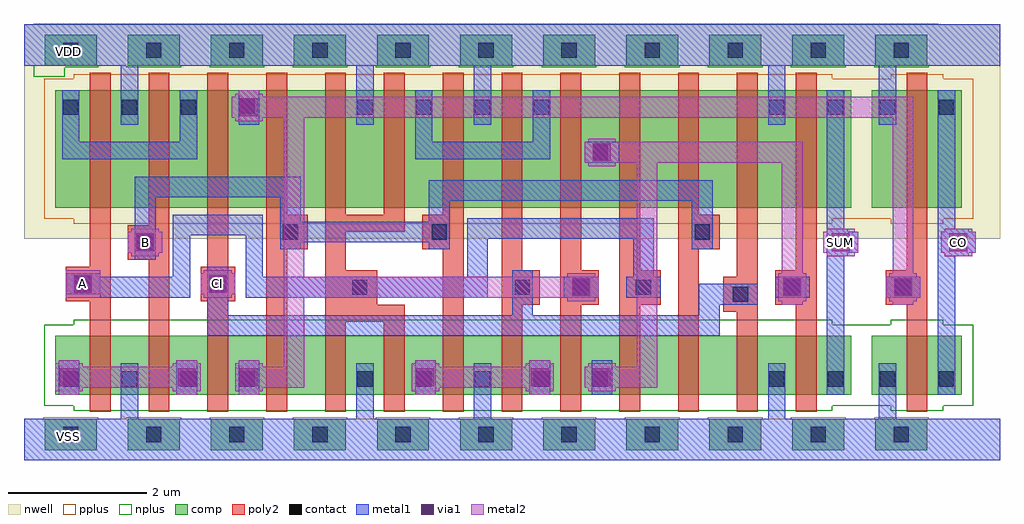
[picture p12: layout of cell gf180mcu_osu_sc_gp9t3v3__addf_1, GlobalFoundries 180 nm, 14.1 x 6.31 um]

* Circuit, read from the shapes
.subckt gf180mcu_osu_sc_gp9t3v3__addf_1 A B CI CO SUM VDD VSS
XM1 VSS A n1 VSS nfet_03v3 w=0.85u l=0.3u
XM2 n1 B VSS VSS nfet_03v3 w=0.85u l=0.3u
XM3 n2 CI n1 VSS nfet_03v3 w=0.85u l=0.3u
XM4 n3 B n2 VSS nfet_03v3 w=0.85u l=0.3u
XM5 VSS A n3 VSS nfet_03v3 w=0.85u l=0.3u
XM6 n4 A VSS VSS nfet_03v3 w=0.85u l=0.3u
XM7 VSS B n4 VSS nfet_03v3 w=0.85u l=0.3u
XM8 n4 CI VSS VSS nfet_03v3 w=0.85u l=0.3u
XM9 n5 n2 n4 VSS nfet_03v3 w=0.85u l=0.3u
XM10 n6 A n5 VSS nfet_03v3 w=0.85u l=0.3u
XM11 n7 B n6 VSS nfet_03v3 w=0.85u l=0.3u
XM12 VSS CI n7 VSS nfet_03v3 w=0.85u l=0.3u
XM13 SUM n5 VSS VSS nfet_03v3 w=0.85u l=0.3u
XM14 CO n2 VSS VSS nfet_03v3 w=0.85u l=0.3u
XM15 VDD A n8 VDD pfet_03v3 w=1.7u l=0.3u
XM16 n8 B VDD VDD pfet_03v3 w=1.7u l=0.3u
XM17 n2 CI n8 VDD pfet_03v3 w=1.7u l=0.3u
XM18 n9 B n2 VDD pfet_03v3 w=1.7u l=0.3u
XM19 VDD A n9 VDD pfet_03v3 w=1.7u l=0.3u
XM20 n10 A VDD VDD pfet_03v3 w=1.7u l=0.3u
XM21 VDD B n10 VDD pfet_03v3 w=1.7u l=0.3u
XM22 n10 CI VDD VDD pfet_03v3 w=1.7u l=0.3u
XM23 n5 n2 n10 VDD pfet_03v3 w=1.7u l=0.3u
XM24 n11 A n5 VDD pfet_03v3 w=1.7u l=0.3u
XM25 n12 B n11 VDD pfet_03v3 w=1.7u l=0.3u
XM26 VDD CI n12 VDD pfet_03v3 w=1.7u l=0.3u
XM27 SUM n5 VDD VDD pfet_03v3 w=1.7u l=0.3u
XM28 CO n2 VDD VDD pfet_03v3 w=1.7u l=0.3u
.ends

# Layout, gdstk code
import gdstk
lib = gdstk.Library(unit=1e-6, precision=1e-09)
def R(c, l, rs):  # rectangles x0, y0, x1, y1
    for r in rs: c.add(gdstk.rectangle(r[:2], r[2:], *l))
def A(c, l, x, y, w, h, nx, ny, dx, dy):  # array of equal rectangles
    R(c, l, [(x+i*dx, y+j*dy, x+i*dx+w, y+j*dy+h) for i in range(nx) for j in range(ny)])
nwell = (21, 0)
comp = (22, 0)
poly2 = (30, 0)
pplus = (31, 0)
nplus = (32, 0)
contact = (33, 0)
metal1 = (34, 0)
via1 = (35, 0)
metal2 = (36, 0)

gf180mcu_osu_sc_gp9t3v3_ = lib.new_cell('gf180mcu_osu_sc_gp9t3v3__addf_1')
R(gf180mcu_osu_sc_gp9t3v3_, nwell, [(0,3.2,14.1,6.3)])
A(gf180mcu_osu_sc_gp9t3v3_, comp, 0.3, 0.15, 0.75, 0.45, 11, 2, 1.2, 5.55)
R(gf180mcu_osu_sc_gp9t3v3_, comp, [(0.45,0.95,11.95,1.8), (12.25,0.95,13.55,1.8), (0.45,3.65,11.95,5.35), (12.25,3.65,13.55,5.35)])
A(gf180mcu_osu_sc_gp9t3v3_, poly2, 6.9, 0.7, 0.3, 1.55, 3, 1, 0.85, 0)
A(gf180mcu_osu_sc_gp9t3v3_, poly2, 6.9, 2.75, 0.3, 2.85, 3, 1, 0.85, 0)
A(gf180mcu_osu_sc_gp9t3v3_, poly2, 3.5, 3.55, 0.3, 2.05, 4, 1, 0.85, 0)
R(gf180mcu_osu_sc_gp9t3v3_, poly2, [(0.95,0.7,1.25,2.3), (1.8,0.7,2.1,2.9), (2.65,0.7,2.95,2.3), (3.5,0.7,3.8,3.05), (4.35,0.7,4.65,2), (5.2,0.7,5.5,2), (6.05,0.7,6.35,3.05), (9.45,0.7,9.75,3.05), (10.3,0.7,10.6,2.15), (11.15,0.7,11.45,2.25), (12.75,0.7,13.05,2.25), (4.35,2,5.5,2.25), (10.1,2.15,10.6,2.65), (4.35,2.25,5.1,2.75), (6.9,2.25,7.45,2.75), (7.75,2.25,8.3,2.75), (8.6,2.25,9.2,2.75), (10.85,2.25,11.45,2.75), (12.45,2.25,13.05,2.75), (0.6,2.3,1.25,2.8), (2.55,2.3,3.05,2.8), (10.3,2.65,10.6,5.6), (4.35,2.75,4.65,3.3), (11.15,2.75,11.45,5.6), (12.75,2.75,13.05,5.6), (0.95,2.8,1.25,5.6), (2.65,2.8,2.95,5.6), (1.5,2.9,2.1,3.4), (3.5,3.05,4.1,3.55), (5.75,3.05,6.35,3.55), (9.45,3.05,10.05,3.55), (4.35,3.3,5.5,3.55), (1.8,3.4,2.1,5.6), (9.45,3.55,9.75,5.6)])
A(gf180mcu_osu_sc_gp9t3v3_, pplus, 0.28, 0.13, 0.79, 0.49, 11, 1, 1.2, 0)
R(gf180mcu_osu_sc_gp9t3v3_, pplus, [(0,0,14.1,0.6), (0.72,3.42,11.68,3.49), (12.52,3.42,13.28,3.49), (0.29,3.49,13.71,5.51), (0.72,5.51,11.68,5.58), (12.52,5.51,13.28,5.58)])
A(gf180mcu_osu_sc_gp9t3v3_, nplus, 1.48, 5.68, 0.79, 0.02, 10, 1, 1.2, 0)
R(gf180mcu_osu_sc_gp9t3v3_, nplus, [(0.72,0.72,11.68,0.79), (12.52,0.72,13.28,0.79), (0.29,0.79,13.71,1.96), (0.72,1.96,11.68,2.03), (12.52,1.96,13.28,2.03), (0.14,5.54,0.59,5.68), (0.14,5.68,1.07,5.7), (0,5.7,14.1,6.3), (0,5.7,14.1,6.3), (0.14,6.3,13.21,6.31)])
A(gf180mcu_osu_sc_gp9t3v3_, contact, 0.565, 0.265, 0.22, 0.22, 11, 2, 1.2, 5.55)
A(gf180mcu_osu_sc_gp9t3v3_, contact, 0.565, 1.065, 0.22, 0.22, 4, 1, 0.85, 0)
A(gf180mcu_osu_sc_gp9t3v3_, contact, 4.815, 1.065, 0.22, 0.22, 5, 1, 0.85, 0)
A(gf180mcu_osu_sc_gp9t3v3_, contact, 0.565, 4.99, 0.22, 0.22, 3, 1, 0.85, 0)
A(gf180mcu_osu_sc_gp9t3v3_, contact, 4.815, 4.99, 0.22, 0.22, 4, 1, 0.85, 0)
R(gf180mcu_osu_sc_gp9t3v3_, contact, [(10.765,1.065,10.985,1.285), (11.615,1.065,11.835,1.285), (12.365,1.065,12.585,1.285), (13.215,1.065,13.435,1.285), (10.24,2.29,10.46,2.51), (4.74,2.39,4.96,2.61), (7.09,2.39,7.31,2.61), (7.94,2.39,8.16,2.61), (8.84,2.39,9.06,2.61), (10.99,2.39,11.21,2.61), (12.59,2.39,12.81,2.61), (0.74,2.44,0.96,2.66), (2.69,2.44,2.91,2.66), (1.64,3.04,1.86,3.26), (3.74,3.19,3.96,3.41), (5.89,3.19,6.11,3.41), (9.69,3.19,9.91,3.41), (8.215,4.34,8.435,4.56), (10.765,4.99,10.985,5.21), (11.615,4.99,11.835,5.21), (12.365,4.99,12.585,5.21), (13.215,4.99,13.435,5.21), (3.115,5.015,3.335,5.235)])
R(gf180mcu_osu_sc_gp9t3v3_, metal1, [(0,0,14.1,0.6), (1.4,0.6,1.65,1.4), (4.8,0.6,5.05,1.4), (6.5,0.6,6.75,1.4), (10.75,0.6,11,1.4), (12.35,0.6,12.6,1.4), (0.5,0.95,0.8,1.45), (2.2,0.95,2.5,1.45), (3.1,0.95,3.4,1.45), (5.65,0.95,5.95,1.45), (7.3,0.95,7.6,1.45), (8.2,0.95,8.5,1.45), (11.6,0.95,11.85,2.95), (13.2,0.95,13.45,2.95), (2.65,1.8,10.05,2.1), (2.65,2.1,2.95,2.8), (7.05,2.1,7.35,2.75), (9.75,2.1,10.05,2.25), (9.75,2.25,10.6,2.55), (1.1,2.35,2.4,2.4), (3.2,2.35,6.7,2.65), (7.8,2.35,8.3,2.65), (8.7,2.35,9.2,2.65), (10.85,2.35,11.35,2.65), (12.45,2.35,12.95,2.65), (0.6,2.4,2.4,2.65), (0.6,2.65,1.1,2.7), (2.15,2.65,2.4,3.25), (3.2,2.65,3.45,3.25), (6.4,2.65,6.7,3.2), (8.8,2.65,9.1,3.2), (1.6,2.9,1.9,3.8), (11.6,2.95,11.9,3), (13.2,2.95,13.65,3), (11.6,3,12.05,3.3), (13.2,3,13.75,3.3), (3.7,3.05,4,3.15), (5.85,3.05,6.15,3.15), (9.65,3.05,9.95,3.75), (3.7,3.15,6.15,3.45), (6.4,3.2,9.1,3.5), (2.15,3.25,3.45,3.55), (11.6,3.3,11.9,3.35), (13.2,3.3,13.65,3.35), (11.6,3.35,11.85,5.35), (13.2,3.35,13.45,5.35), (3.7,3.45,4,3.8), (5.85,3.45,6.15,3.75), (5.85,3.75,9.95,4.05), (1.6,3.8,4,4.1), (8.1,4.3,8.6,4.6), (0.55,4.35,2.5,4.6), (5.65,4.35,7.6,4.6), (0.55,4.6,0.8,5.35), (2.25,4.6,2.5,5.35), (5.65,4.6,5.9,5.35), (7.35,4.6,7.6,5.35), (1.4,4.85,1.65,5.7), (3.1,4.85,3.4,5.35), (4.8,4.85,5.05,5.7), (6.5,4.85,6.75,5.7), (10.75,4.85,11,5.7), (12.35,4.85,12.6,5.7), (0,5.7,14.1,6.3)])
R(gf180mcu_osu_sc_gp9t3v3_, via1, [(0.52,1.07,0.78,1.33), (2.22,1.07,2.48,1.33), (3.12,1.07,3.38,1.33), (5.67,1.07,5.93,1.33), (7.32,1.07,7.58,1.33), (8.22,1.07,8.48,1.33), (7.92,2.37,8.18,2.63), (10.97,2.37,11.23,2.63), (12.57,2.37,12.83,2.63), (0.72,2.42,0.98,2.68), (2.67,2.42,2.93,2.68), (1.62,3.02,1.88,3.28), (11.67,3.02,11.93,3.28), (13.37,3.02,13.63,3.28), (8.22,4.32,8.48,4.58), (3.12,4.97,3.38,5.23)])
R(gf180mcu_osu_sc_gp9t3v3_, metal2, [(0.5,0.95,0.8,1), (2.2,0.95,2.5,1), (3.1,0.95,3.4,1), (5.65,0.95,5.95,1), (7.3,0.95,7.6,1), (0.45,1,0.85,1.05), (2.15,1,2.55,1.05), (3.05,1,3.45,1.05), (5.6,1,6,1.05), (7.25,1,7.65,1.05), (8.15,1,8.55,1.05), (0.45,1.05,2.55,1.35), (3.05,1.05,4.05,1.35), (5.6,1.05,7.65,1.35), (8.1,1.05,9.15,1.35), (0.45,1.35,0.85,1.4), (2.15,1.35,2.55,1.4), (3.05,1.35,3.45,1.4), (3.75,1.35,4.05,2.35), (5.6,1.35,6,1.4), (7.25,1.35,7.65,1.4), (8.15,1.35,8.55,1.4), (8.85,1.35,9.15,4.3), (0.5,1.4,0.8,1.45), (2.2,1.4,2.5,1.45), (3.1,1.4,3.4,1.45), (5.65,1.4,5.95,1.45), (7.3,1.4,7.6,1.45), (10.95,2.25,11.25,2.3), (12.55,2.25,12.85,2.3), (7.85,2.3,8.25,2.35), (10.9,2.3,11.3,2.7), (12.5,2.3,12.9,2.35), (0.6,2.35,1.1,2.75), (2.6,2.35,3,2.4), (3.75,2.35,8.3,2.65), (12.45,2.35,12.95,2.65), (2.55,2.4,3.05,2.7), (3.75,2.65,4.05,4.95), (7.85,2.65,8.25,2.7), (12.5,2.65,12.9,2.7), (2.6,2.7,3,2.75), (10.95,2.7,11.25,4.3), (12.55,2.7,12.85,4.95), (1.55,2.95,1.95,3), (11.6,2.95,12,3), (13.3,2.95,13.7,3), (1.5,3,2,3.3), (11.55,3,12.05,3.3), (13.25,3,13.75,3.3), (1.55,3.3,1.95,3.35), (11.6,3.3,12,3.35), (13.3,3.3,13.7,3.35), (8.15,4.25,8.55,4.3), (8.1,4.3,11.25,4.6), (8.15,4.6,8.55,4.65), (3.05,4.9,3.45,4.95), (3,4.95,12.85,5.25), (3.05,5.25,3.45,5.3), (3.1,5.3,3.4,5.35)])
gf180mcu_osu_sc_gp9t3v3_.add(gdstk.Label('VDD', (0.65,5.9), layer=22, texttype=0))
gf180mcu_osu_sc_gp9t3v3_.add(gdstk.Label('VSS', (0.65,0.35), layer=22, texttype=0))
gf180mcu_osu_sc_gp9t3v3_.add(gdstk.Label('A', (0.85,2.55), layer=36, texttype=10))
gf180mcu_osu_sc_gp9t3v3_.add(gdstk.Label('B', (1.75,3.15), layer=36, texttype=10))
gf180mcu_osu_sc_gp9t3v3_.add(gdstk.Label('CI', (2.8,2.55), layer=36, texttype=10))
gf180mcu_osu_sc_gp9t3v3_.add(gdstk.Label('SUM', (11.8,3.15), layer=36, texttype=10))
gf180mcu_osu_sc_gp9t3v3_.add(gdstk.Label('CO', (13.5,3.15), layer=36, texttype=10))

lib.write_gds('gf180mcu_osu_sc_gp9t3v3__addf_1.gds')
